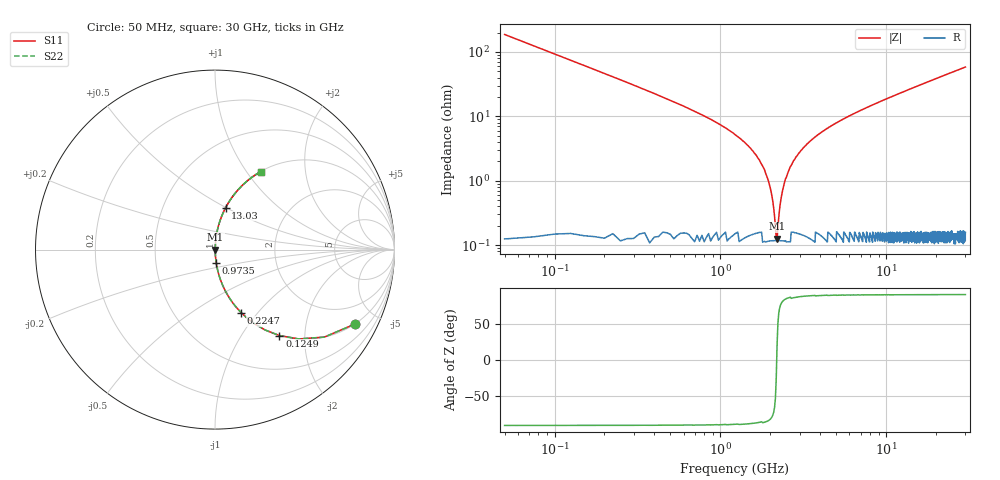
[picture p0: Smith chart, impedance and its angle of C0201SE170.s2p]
!	AVX Thin Film Operation 	Date: April 2014
!	Description: Accu-P® Series, Thin Film  SMD RF Capacitor
!	Part Number: 0201YK170FBSTR
# MHZ S MA R 50
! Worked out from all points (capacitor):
!   1201 points, 50 MHz to 30 GHz, reference 50 ohm
!   read as one part in series: C = 17 pF near 199.8 MHz
!   lowest |Z| = 126 mohm at 2.196 GHz (marker M1)
!   series resonance near 2.185 GHz, so ESL is about 310 pH
!   S11 on the Smith chart (normalised r, x): 50 MHz: 1.00, -3.74; 124.9 MHz: 1.00, -1.49; 224.7 MHz: 1.00, -0.83; 973.5 MHz: 1.00, -0.15; 13.03 GHz: 1.00, +0.50; 30 GHz: 1.00, +1.17
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50  0.882 -28.1  0.471 61.9  0.471 61.9  0.882 -28.1
124.875  0.598 -53.2  0.8 36.7  0.8 36.7  0.598 -53.2
224.708  0.381 -67.4  0.923 22.4  0.923 22.4  0.381 -67.4
424.375  0.207 -77.7  0.977 12.0  0.977 12.0  0.207 -77.7
973.458  0.077 -84.6  0.996 4.4  0.996 4.4  0.077 -84.6
1722.208  0.021 -85.0  0.998 1.2  0.998 1.2  0.021 -85.0
1921.875  0.011 -82.3  0.999 0.6  0.999 0.6  0.011 -82.3
2096.583  0.0038 -68.9  0.999 0.2  0.999 0.2  0.0038 -68.9
2196.417  0.001426 17.6  0.999 -0.0  0.999 -0.0  0.001426 17.6
2296.25  0.00445 72.0  0.999 -0.2  0.999 -0.2  0.00445 72.0
2421.042  0.008884 80.7  0.999 -0.5  0.999 -0.5  0.008884 80.7
2545.833  0.013 83.3  0.999 -0.8  0.999 -0.8  0.013 83.3
2995.083  0.027 85.6  0.998 -1.6  0.998 -1.6  0.027 85.6
3768.792  0.049 85.6  0.997 -2.8  0.997 -2.8  0.049 85.6
5041.667  0.08 84.4  0.995 -4.6  0.995 -4.6  0.08 84.4
7138.167  0.126 82.2  0.991 -7.2  0.991 -7.2  0.126 82.2
10058.29  0.184 79.0  0.982 -10.6  0.982 -10.6  0.184 79.0
13028.33  0.241 75.8  0.969 -13.9  0.969 -13.9  0.241 75.8
15025  0.277 73.7  0.96 -16.1  0.96 -16.1  0.277 73.7
20016.67  0.361 68.6  0.931 -21.2  0.931 -21.2  0.361 68.6
25033.29  0.437 63.9  0.898 -25.9  0.898 -25.9  0.437 63.9
30000  0.504 59.6  0.862 -30.3  0.862 -30.3  0.504 59.6
